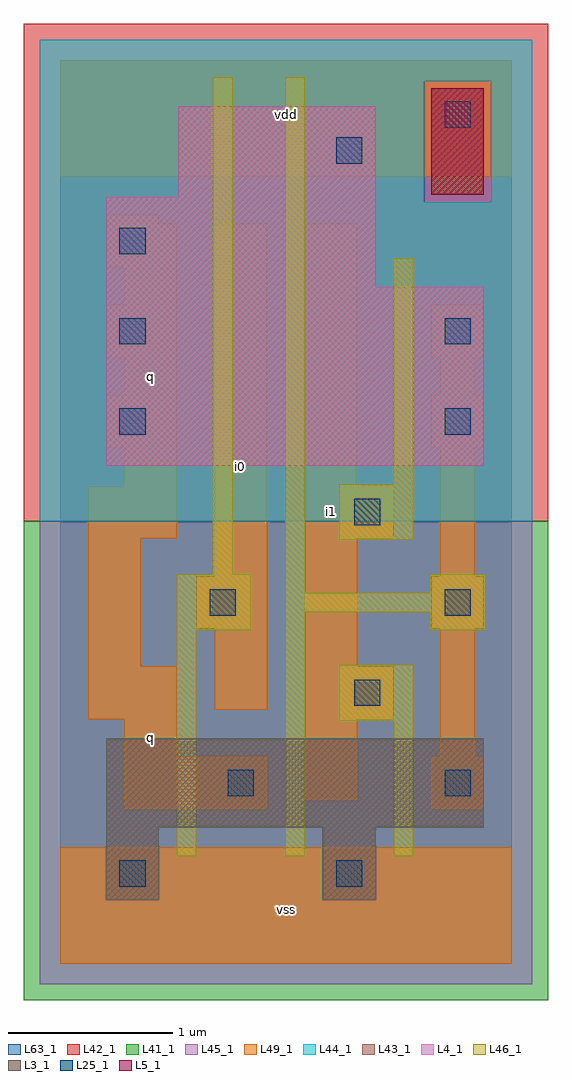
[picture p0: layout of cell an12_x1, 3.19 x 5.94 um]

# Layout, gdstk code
import gdstk
lib = gdstk.Library(unit=1e-6, precision=1e-09)
def R(c, l, rs):  # rectangles x0, y0, x1, y1
    for r in rs: c.add(gdstk.rectangle(r[:2], r[2:], *l))
def A(c, l, x, y, w, h, nx, ny, dx, dy):  # array of equal rectangles
    R(c, l, [(x+i*dx, y+j*dy, x+i*dx+w, y+j*dy+h) for i in range(nx) for j in range(ny)])
L3_1 = (3, 1)
L4_1 = (4, 1)
L5_1 = (5, 1)
L25_1 = (25, 1)
L41_1 = (41, 1)
L42_1 = (42, 1)
L43_1 = (43, 1)
L44_1 = (44, 1)
L45_1 = (45, 1)
L46_1 = (46, 1)
L49_1 = (49, 1)
L63_1 = (63, 1)

an12_x1 = lib.new_cell('an12_x1')
R(an12_x1, L3_1, [(0.28,0.39,0.6,0.83), (1.6,0.39,1.92,0.83), (0.28,0.83,2.58,1.37)])
R(an12_x1, L4_1, [(0.28,3.03,2.58,4.12), (0.28,4.12,1.92,4.67), (0.72,4.67,1.92,5.22)])
R(an12_x1, L5_1, [(2.26,4.68,2.58,5.33)])
A(an12_x1, L25_1, 2.34, 1.02, 0.16, 0.16, 1, 3, 0, 1.1)
A(an12_x1, L25_1, 0.36, 3.22, 0.16, 0.16, 1, 3, 0, 0.55)
R(an12_x1, L25_1, [(0.36,0.47,0.52,0.63), (1.68,0.47,1.84,0.63), (1.02,1.02,1.18,1.18), (1.79,1.57,1.95,1.73), (0.91,2.12,1.07,2.28), (1.79,2.67,1.95,2.83), (2.34,3.77,2.5,3.93), (1.68,4.87,1.84,5.03), (2.34,5.09,2.5,5.25)])
R(an12_x1, L41_1, [(-0.22,-0.22,2.97,2.695)])
R(an12_x1, L42_1, [(-0.22,2.695,2.97,5.72)])
R(an12_x1, L43_1, [(0.28,0.39,0.6,0.83), (1.6,0.39,1.92,0.83), (0.28,0.83,2.58,1.37), (0.28,3.03,2.58,4.12), (0.28,4.12,1.92,4.67), (0.72,4.67,1.92,5.22), (2.26,4.68,2.58,5.33)])
R(an12_x1, L44_1, [(-0.125,2.695,2.875,4.635), (-0.125,4.635,2.215,5.375), (2.625,4.635,2.875,5.375), (-0.125,5.375,2.875,5.625)])
R(an12_x1, L45_1, [(-0.125,-0.125,2.875,2.695), (2.215,4.635,2.625,5.375)])
R(an12_x1, L46_1, [(0.71,0.655,0.83,2.03), (1.37,0.655,1.49,2.14), (2.03,0.655,2.15,1.48), (1.7,1.48,2.15,1.82), (0.71,2.03,1.16,2.37), (2.25,2.03,2.59,2.14), (1.37,2.14,2.59,2.26), (1.37,2.26,1.49,5.395), (2.25,2.26,2.59,2.37), (0.93,2.37,1.05,5.395), (1.7,2.58,2.15,2.92), (2.03,2.92,2.15,4.295)])
A(an12_x1, L49_1, 2.26, 0.94, 0.32, 0.32, 1, 3, 0, 1.1)
A(an12_x1, L49_1, 0.39, 2.91, 0.32, 0.23, 1, 3, 0, 0.55)
R(an12_x1, L49_1, [(0,0,2.75,0.71), (0.39,0.94,1.26,1.26), (1.49,0.995,1.81,1.49), (0.39,1.26,0.71,1.49), (2.315,1.26,2.525,2.04), (0.17,1.49,0.71,1.81), (1.49,1.49,2.03,1.81), (0.94,1.545,1.26,2.04), (0.17,1.81,0.49,2.59), (1.49,1.81,1.81,2.59), (0.83,2.04,1.26,2.36), (0.94,2.36,1.26,4.505), (2.315,2.36,2.525,3.14), (0.17,2.59,0.71,2.91), (1.49,2.59,2.03,2.91), (1.49,2.91,1.81,4.505), (0.28,3.14,0.71,3.46), (2.315,3.46,2.525,3.69), (0.28,3.69,0.71,4.01), (2.26,3.69,2.58,4.01), (0.28,4.24,0.71,4.505), (0.28,4.505,0.6,4.56), (0,4.79,2.75,5.5)])
R(an12_x1, L63_1, [(0,0,2.75,5.5)])
an12_x1.add(gdstk.Label('q', (0.55,1.375), layer=49, texttype=1))
an12_x1.add(gdstk.Label('q', (0.55,1.375), layer=49, texttype=1))
an12_x1.add(gdstk.Label('q', (0.55,3.575), layer=49, texttype=1))
an12_x1.add(gdstk.Label('q', (0.55,3.575), layer=49, texttype=1))
an12_x1.add(gdstk.Label('i0', (1.1,3.025), layer=49, texttype=1))
an12_x1.add(gdstk.Label('i0', (1.1,3.025), layer=49, texttype=1))
an12_x1.add(gdstk.Label('vss', (1.375,0.33), layer=49, texttype=1))
an12_x1.add(gdstk.Label('vss', (1.375,0.33), layer=49, texttype=1))
an12_x1.add(gdstk.Label('i1', (1.65,2.75), layer=49, texttype=1))
an12_x1.add(gdstk.Label('i1', (1.65,2.75), layer=49, texttype=1))
an12_x1.add(gdstk.Label('vdd', (1.375,5.17), layer=49, texttype=1))
an12_x1.add(gdstk.Label('vdd', (1.375,5.17), layer=49, texttype=1))

lib.write_gds('an12_x1.gds')
